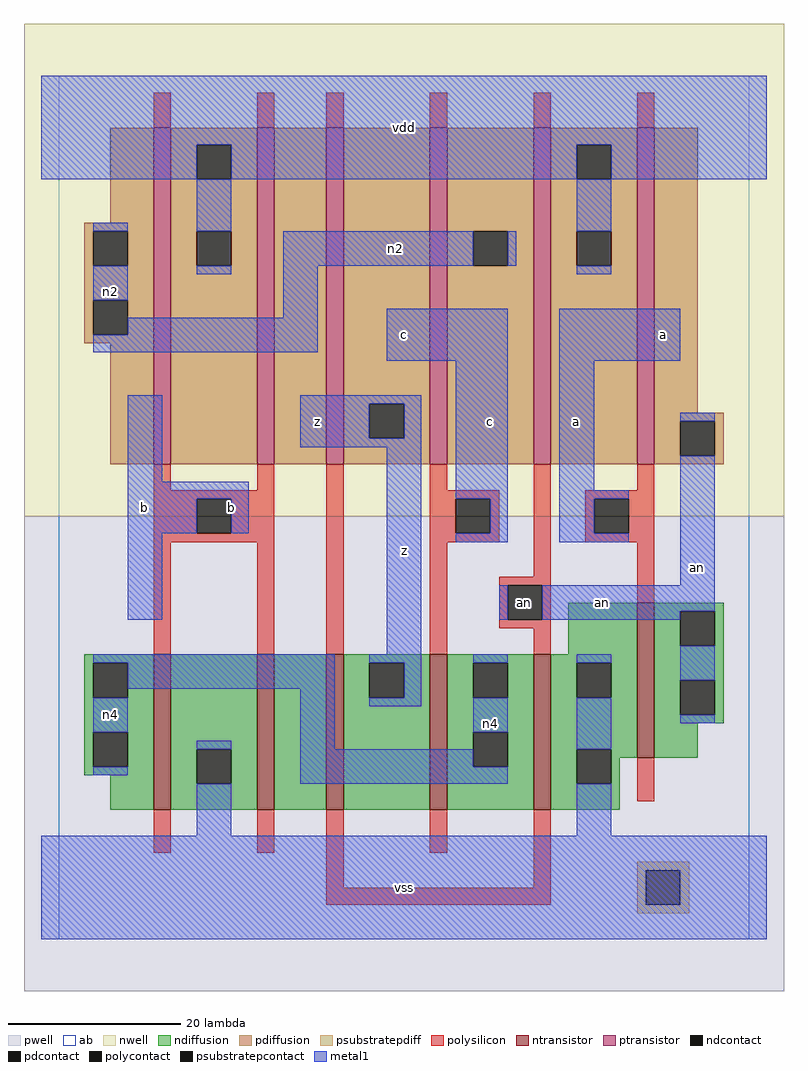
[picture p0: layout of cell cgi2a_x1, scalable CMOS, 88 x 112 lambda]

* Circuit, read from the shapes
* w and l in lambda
.subckt cgi2a_x1 a an b c n2 n4 vdd vss z
M1 vss b n4 vss nfet w=18 l=2
M2 n1 b vss vss nfet w=18 l=2
M3 z an n1 vss nfet w=18 l=2
M4 n4 c z vss nfet w=18 l=2
M5 vss an n4 vss nfet w=18 l=2
M6 an a vss vss nfet w=18 l=2
M7 vdd b n2 n3 pfet w=39 l=2
M8 n5 b vdd n3 pfet w=39 l=2
M9 z an n5 n3 pfet w=39 l=2
M10 n2 c z n3 pfet w=39 l=2
M11 vdd an n2 n3 pfet w=39 l=2
M12 an a vdd n3 pfet w=39 l=2
.ends

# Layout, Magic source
magic
tech scmos
<< ab >>
rect 0 0 80 100
<< pwell >>
rect -4 -6 84 49
<< nwell >>
rect -4 49 84 106
<< polysilicon >>
rect 11 94 13 98
rect 23 94 25 98
rect 31 94 33 98
rect 43 94 45 98
rect 55 94 57 98
rect 67 94 69 98
rect 11 52 13 55
rect 23 52 25 55
rect 11 51 25 52
rect 11 47 16 51
rect 20 47 25 51
rect 11 46 25 47
rect 11 33 13 46
rect 23 33 25 46
rect 31 33 33 55
rect 43 52 45 55
rect 43 51 51 52
rect 43 47 46 51
rect 50 47 51 51
rect 43 46 51 47
rect 43 33 45 46
rect 55 42 57 55
rect 67 52 69 55
rect 61 51 69 52
rect 61 47 62 51
rect 66 47 69 51
rect 61 46 69 47
rect 51 41 57 42
rect 51 37 52 41
rect 56 37 57 41
rect 67 39 69 46
rect 51 36 57 37
rect 55 33 57 36
rect 67 16 69 21
rect 11 10 13 15
rect 23 10 25 15
rect 31 6 33 15
rect 43 10 45 15
rect 55 6 57 15
rect 31 4 57 6
<< ndiffusion >>
rect 59 33 67 39
rect 3 32 11 33
rect 3 28 4 32
rect 8 28 11 32
rect 3 24 11 28
rect 3 20 4 24
rect 8 20 11 24
rect 3 19 11 20
rect 6 15 11 19
rect 13 22 23 33
rect 13 18 16 22
rect 20 18 23 22
rect 13 15 23 18
rect 25 15 31 33
rect 33 32 43 33
rect 33 28 36 32
rect 40 28 43 32
rect 33 15 43 28
rect 45 32 55 33
rect 45 28 48 32
rect 52 28 55 32
rect 45 24 55 28
rect 45 20 48 24
rect 52 20 55 24
rect 45 15 55 20
rect 57 32 67 33
rect 57 28 60 32
rect 64 28 67 32
rect 57 22 67 28
rect 57 18 60 22
rect 64 21 67 22
rect 69 38 77 39
rect 69 34 72 38
rect 76 34 77 38
rect 69 30 77 34
rect 69 26 72 30
rect 76 26 77 30
rect 69 25 77 26
rect 69 21 74 25
rect 64 18 65 21
rect 57 15 65 18
<< pdiffusion >>
rect 6 83 11 94
rect 3 82 11 83
rect 3 78 4 82
rect 8 78 11 82
rect 3 74 11 78
rect 3 70 4 74
rect 8 70 11 74
rect 3 69 11 70
rect 6 55 11 69
rect 13 92 23 94
rect 13 88 16 92
rect 20 88 23 92
rect 13 82 23 88
rect 13 78 16 82
rect 20 78 23 82
rect 13 55 23 78
rect 25 55 31 94
rect 33 62 43 94
rect 33 58 36 62
rect 40 58 43 62
rect 33 55 43 58
rect 45 82 55 94
rect 45 78 48 82
rect 52 78 55 82
rect 45 55 55 78
rect 57 92 67 94
rect 57 88 60 92
rect 64 88 67 92
rect 57 82 67 88
rect 57 78 60 82
rect 64 78 67 82
rect 57 55 67 78
rect 69 61 74 94
rect 69 60 77 61
rect 69 56 72 60
rect 76 56 77 60
rect 69 55 77 56
<< metal1 >>
rect -2 92 82 100
rect -2 88 16 92
rect 20 88 60 92
rect 64 88 82 92
rect 4 82 8 83
rect 4 74 8 78
rect 16 82 20 88
rect 60 82 64 88
rect 16 77 20 78
rect 26 78 48 82
rect 52 78 53 82
rect 26 72 30 78
rect 60 77 64 78
rect 8 70 30 72
rect 4 68 30 70
rect 38 67 52 73
rect 8 53 12 63
rect 28 62 42 63
rect 28 58 36 62
rect 40 58 42 62
rect 28 57 42 58
rect 8 51 22 53
rect 8 47 16 51
rect 20 47 22 51
rect 8 37 12 47
rect 38 33 42 57
rect 46 51 52 67
rect 50 47 52 51
rect 46 46 52 47
rect 58 67 72 73
rect 58 52 62 67
rect 72 60 76 61
rect 58 51 66 52
rect 58 47 62 51
rect 58 46 66 47
rect 72 41 76 56
rect 51 37 52 41
rect 56 38 76 41
rect 56 37 72 38
rect 4 32 32 33
rect 8 29 32 32
rect 4 24 8 28
rect 4 19 8 20
rect 16 22 20 23
rect 28 22 32 29
rect 36 32 42 33
rect 40 28 42 32
rect 36 27 42 28
rect 48 32 52 33
rect 48 24 52 28
rect 28 20 48 22
rect 28 18 52 20
rect 60 32 64 33
rect 60 22 64 28
rect 72 30 76 34
rect 72 25 76 26
rect 16 12 20 18
rect 60 12 64 18
rect -2 0 82 12
<< ntransistor >>
rect 11 15 13 33
rect 23 15 25 33
rect 31 15 33 33
rect 43 15 45 33
rect 55 15 57 33
rect 67 21 69 39
<< ptransistor >>
rect 11 55 13 94
rect 23 55 25 94
rect 31 55 33 94
rect 43 55 45 94
rect 55 55 57 94
rect 67 55 69 94
<< polycontact >>
rect 16 47 20 51
rect 46 47 50 51
rect 62 47 66 51
rect 52 37 56 41
<< ndcontact >>
rect 4 28 8 32
rect 4 20 8 24
rect 16 18 20 22
rect 36 28 40 32
rect 48 28 52 32
rect 48 20 52 24
rect 60 28 64 32
rect 60 18 64 22
rect 72 34 76 38
rect 72 26 76 30
<< pdcontact >>
rect 4 78 8 82
rect 4 70 8 74
rect 16 88 20 92
rect 16 78 20 82
rect 36 58 40 62
rect 48 78 52 82
rect 60 88 64 92
rect 60 78 64 82
rect 72 56 76 60
<< psubstratepcontact >>
rect 68 4 72 8
<< psubstratepdiff >>
rect 67 8 73 9
rect 67 4 68 8
rect 72 4 73 8
rect 67 3 73 4
<< labels >>
rlabel polycontact 54 39 54 39 6 an
rlabel metal1 6 26 6 26 6 n4
rlabel metal1 10 50 10 50 6 b
rlabel metal1 10 50 10 50 6 b
rlabel metal1 6 75 6 75 6 n2
rlabel metal1 20 50 20 50 6 b
rlabel metal1 20 50 20 50 6 b
rlabel metal1 40 6 40 6 6 vss
rlabel metal1 40 6 40 6 6 vss
rlabel metal1 40 45 40 45 6 z
rlabel metal1 40 45 40 45 6 z
rlabel metal1 30 60 30 60 6 z
rlabel metal1 30 60 30 60 6 z
rlabel metal1 40 70 40 70 6 c
rlabel metal1 40 70 40 70 6 c
rlabel metal1 40 94 40 94 6 vdd
rlabel metal1 40 94 40 94 6 vdd
rlabel metal1 50 25 50 25 6 n4
rlabel metal1 60 60 60 60 6 a
rlabel metal1 60 60 60 60 6 a
rlabel metal1 50 60 50 60 6 c
rlabel metal1 50 60 50 60 6 c
rlabel metal1 39 80 39 80 6 n2
rlabel metal1 63 39 63 39 6 an
rlabel metal1 74 43 74 43 6 an
rlabel metal1 70 70 70 70 6 a
rlabel metal1 70 70 70 70 6 a
<< end >>
